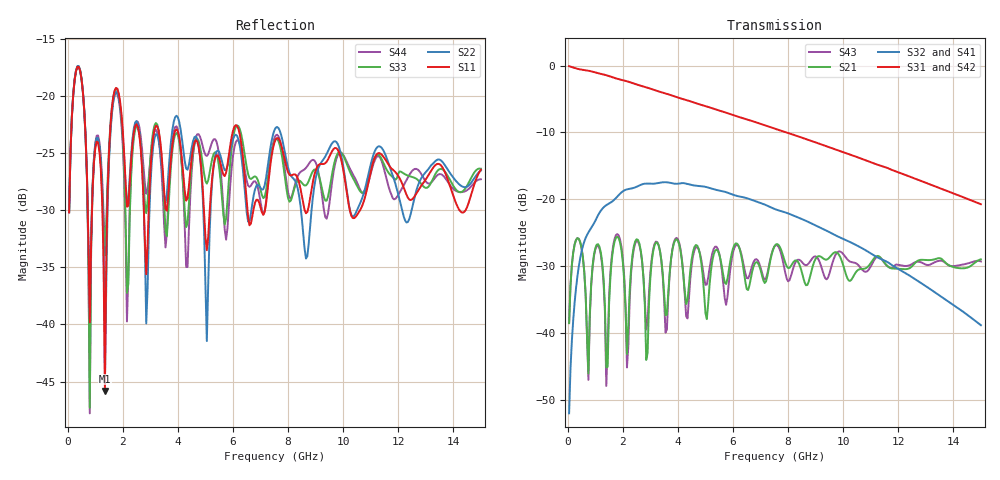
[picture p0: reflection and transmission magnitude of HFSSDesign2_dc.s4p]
! Touchstone file exported from HFSS 2021.1.0
!  File:  C:/Users/BRAIN/Documents/Ansoft/channel_design_220214.aedt
!  Generated:  6:37:35 %xC624%xD6C4  2 15, 2022
!  Design:  HFSSDesign2
!  Project:  channel_design_220214
!  Setup:  Setup1
!  Solution:  Sweep
! Variables:
!  dis = 8mil
!  l_channel = 4in
!  t_channel = 18um
!  t_di = 4.5mil
!  w_channel = 8mil
!  w_di = 50mil
!Created with skrf (http://scikit-rf.org).
# GHz S RI R 50.0
! Port[1] = trace1_T1
! Port[2] = trace2_T1
! Port[3] = trace1_T2
! Port[4] = trace2_T2
!freq ReS11 ImS11 ReS12 ImS12 ReS13 ImS13
! ReS14 ImS14
! ReS21 ImS21 ReS22 ImS22 ReS23 ImS23
! ReS24 ImS24
! ReS31 ImS31 ReS32 ImS32 ReS33 ImS33
! ReS34 ImS34
! ReS41 ImS41 ReS42 ImS42 ReS43 ImS43
! ReS44 ImS44
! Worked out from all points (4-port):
!   300 points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, 50 MHz to 15 GHz, reference 50 ohm
!   strongest paths, dB at 50 MHz, 3.8 GHz, 7.55 GHz, 11.3 GHz, 15 GHz:
!     S31: -0.1, -4.5, -9.5, -14.9, -20.7
!     S42: -0.1, -4.5, -9.5, -14.9, -20.7
!     S32: -52.0, -17.6, -21.5, -28.8, -38.8
!     S41: -52.0, -17.6, -21.5, -28.8, -38.7
!     S21: -38.5, -27.5, -26.8, -28.5, -29.0
!     S43: -38.5, -27.4, -26.8, -28.6, -29.3
!   lowest |S11| = -45.8 dB at 1.35 GHz (marker M1), VSWR 1.01, Z = 49.5 - j0.0805 ohm
!   |S11| at or under -10 dB: start of sweep to end of sweep
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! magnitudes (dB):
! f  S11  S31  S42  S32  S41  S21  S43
! 50 MHz  -30.2  -0.1  -0.1  -52.0  -52.0  -38.5  -38.5
! 1.1 GHz  -24.1  -1.1  -1.1  -22.4  -22.4  -26.7  -26.9
! 1.35 GHz  -45.8  -1.4  -1.4  -21.0  -21.0  -35.9  -36.9
! 1.75 GHz  -19.3  -1.9  -1.9  -19.8  -19.8  -25.7  -25.3
! 2.15 GHz  -29.7  -2.4  -2.4  -18.5  -18.5  -43.1  -45.1
! 5.05 GHz  -33.5  -6.1  -6.1  -18.2  -18.2  -37.9  -32.7
! 15 GHz  -26.4  -20.7  -20.7  -38.8  -38.7  -29.0  -29.3
